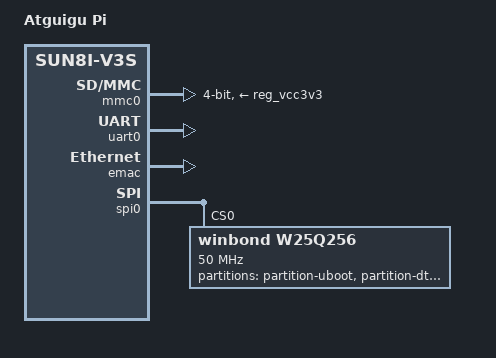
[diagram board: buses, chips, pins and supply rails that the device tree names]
/dts-v1/;
#include "sun8i-v3s.dtsi"
#include "sunxi-common-regulators.dtsi"

/ {
	// 改设备名字
	model = "Atguigu Pi";

	compatible = "atguigu,atguigupi", "allwinner,sun8i-v3s";

	aliases {
		serial0 = &uart0;
		// 给以太网取别名
		ethernet0 = &emac;
		// 给SPI起别名
		spi0 = &spi0;
	};

	chosen {
		stdout-path = "serial0:115200n8";
	};
};

&mmc0 {
	broken-cd;
	bus-width = <4>;
	vmmc-supply = <&reg_vcc3v3>;
	status = "okay";
};

&uart0 {
	pinctrl-0 = <&uart0_pb_pins>;
	pinctrl-names = "default";
	status = "okay";
};

// 开启以太网
&emac {
	allwinner,leds-active-low;
	status = "okay";
};

// 开启SPI和FLASH
&spi0 {
	status = "okay";
	w25q256:w25q256@0 {
		compatible = "winbond,w25q256", "jedec,spi-nor";
		reg = <0x0>;
		spi-max-frequency = <50000000>;
		#address-cells = <1>;
		#size-cells = <1>;
		// 由于Flash没有分区表，需要在设备树文件中声明flash分区
		// 这里总共分了5个区

		partitions {
			compatible = "fixed-partitions";
			#address-cells = <1>;
			#size-cells = <1>;

			partition-uboot {
				reg = <0x0 0x80000>;
				read-only;
			};
	
			partition-dtb {
				reg = <0x80000 0x8000>;
				read-only;
			};
	
			partition-kernel {
				reg = <0x88000 0x6F8000>;
				read-only;
			};
	
			partition-rootfs {
				reg = <0x780000 0x1080000>;
				read-only;
			};

			partition-data {
				reg = <0x1800000 0x800000>;
			};
		};
	};
};

